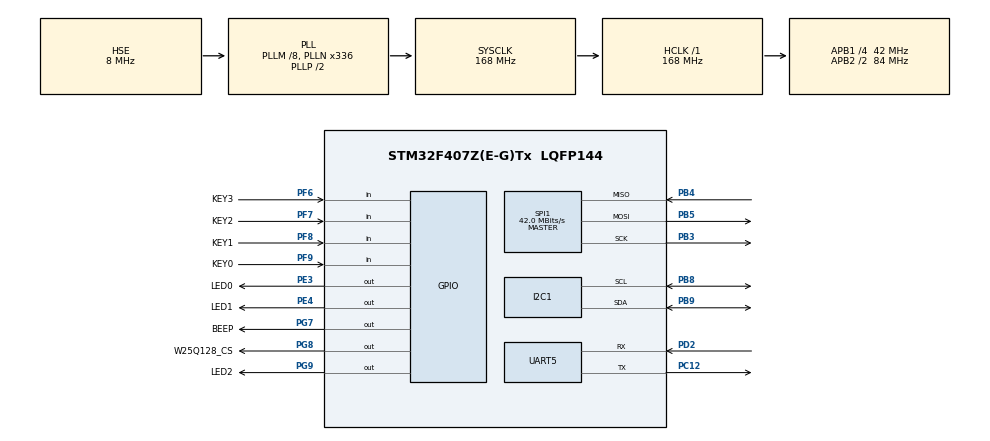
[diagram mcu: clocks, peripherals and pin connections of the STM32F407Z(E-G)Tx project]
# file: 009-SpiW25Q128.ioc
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Mcu.Family=STM32F4
Mcu.Name=STM32F407Z(E-G)Tx
Mcu.Package=LQFP144
NVIC.PriorityGroup=NVIC_PRIORITYGROUP_4
NVIC.TIM3_IRQn=true\:0\:0\:false\:false\:true\:true\:true\:true
PA13.Mode=Serial_Wire
PA13.Signal=SYS_JTMS-SWDIO
PA14.Mode=Serial_Wire
PA14.Signal=SYS_JTCK-SWCLK
PB3.Mode=Full_Duplex_Master
PB3.Signal=SPI1_SCK
PB4.Mode=Full_Duplex_Master
PB4.Signal=SPI1_MISO
PB5.Mode=Full_Duplex_Master
PB5.Signal=SPI1_MOSI
PB8.Mode=I2C
PB8.Signal=I2C1_SCL
PB9.Mode=I2C
PB9.Signal=I2C1_SDA
PC12.Mode=Asynchronous
PC12.Signal=UART5_TX
PC14-OSC32_IN.Mode=LSE-External-Oscillator
PC14-OSC32_IN.Signal=RCC_OSC32_IN
PC15-OSC32_OUT.Mode=LSE-External-Oscillator
PC15-OSC32_OUT.Signal=RCC_OSC32_OUT
PD2.Mode=Asynchronous
PD2.Signal=UART5_RX
PE3.GPIO_Label=LED0
PE3.PinState=GPIO_PIN_SET
PE3.Signal=GPIO_Output
PE4.GPIO_Label=LED1
PE4.PinState=GPIO_PIN_SET
PE4.Signal=GPIO_Output
PF6.GPIO_Label=KEY3
PF6.GPIO_PuPd=GPIO_PULLUP
PF6.Signal=GPIO_Input
PF7.GPIO_Label=KEY2
PF7.GPIO_PuPd=GPIO_PULLUP
PF7.Signal=GPIO_Input
PF8.GPIO_Label=KEY1
PF8.GPIO_PuPd=GPIO_PULLUP
PF8.Signal=GPIO_Input
PF9.GPIO_Label=KEY0
PF9.GPIO_PuPd=GPIO_PULLUP
PF9.Signal=GPIO_Input
PG7.GPIO_Label=BEEP
PG7.Signal=GPIO_Output
PG8.GPIO_Label=W25Q128_CS
PG8.GPIO_Speed=GPIO_SPEED_FREQ_HIGH
PG8.PinState=GPIO_PIN_SET
PG8.Signal=GPIO_Output
PG9.GPIO_Label=LED2
PG9.PinState=GPIO_PIN_SET
PG9.Signal=GPIO_Output
PH0-OSC_IN.Mode=HSE-External-Oscillator
PH0-OSC_IN.Signal=RCC_OSC_IN
PH1-OSC_OUT.Mode=HSE-External-Oscillator
PH1-OSC_OUT.Signal=RCC_OSC_OUT
ProjectManager.HeapSize=0x200
ProjectManager.StackSize=0x400
ProjectManager.TargetToolchain=CMake
RCC.48MHZClocksFreq_Value=84000000
RCC.AHBFreq_Value=168000000
RCC.APB1CLKDivider=RCC_HCLK_DIV4
RCC.APB1Freq_Value=42000000
RCC.APB1TimFreq_Value=84000000
RCC.APB2CLKDivider=RCC_HCLK_DIV2
RCC.APB2Freq_Value=84000000
RCC.APB2TimFreq_Value=168000000
RCC.CortexFreq_Value=168000000
RCC.HCLKFreq_Value=168000000
RCC.HSE_VALUE=8000000
RCC.HSI_VALUE=16000000
RCC.PLLM=8
RCC.PLLN=336
RCC.PLLSourceVirtual=RCC_PLLSOURCE_HSE
RCC.SYSCLKFreq_VALUE=168000000
RCC.SYSCLKSource=RCC_SYSCLKSOURCE_PLLCLK
RCC.VCOOutputFreq_Value=336000000
SPI1.CalculateBaudRate=42.0 MBits/s
SPI1.Direction=SPI_DIRECTION_2LINES
SPI1.Mode=SPI_MODE_MASTER
SPI1.VirtualType=VM_MASTER
TIM3.Period=999
TIM3.Prescaler=1679
UART5.VirtualMode=Asynchronous
VP_TIM3_VS_ClockSourceINT.Mode=Internal
board=custom

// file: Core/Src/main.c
/* USER CODE BEGIN Header */
/**
  ******************************************************************************
  * @file           : main.c
  * @brief          : Main program body
  ******************************************************************************
  * @attention
  *
  * Copyright (c) 2026 STMicroelectronics.
  * All rights reserved.
  *
  * This software is licensed under terms that can be found in the LICENSE file
  * in the root directory of this software component.
  * If no LICENSE file comes with this software, it is provided AS-IS.
  *
  ******************************************************************************
  */
/* USER CODE END Header */
#include "main.h"
#include "i2c.h"
#include "spi.h"
#include "tim.h"
#include "usart.h"
#include "gpio.h"

/* USER CODE BEGIN Includes */
#include <stdio.h>
#include <string.h>
#include "w25q128.h"
/* USER CODE END Includes */

void SystemClock_Config(void);

/* USER CODE BEGIN 0 */
int __io_putchar(int ch)
{
  HAL_UART_Transmit(&huart5, (uint8_t *)&ch, 1, HAL_MAX_DELAY);
  return ch;
}

/* USER CODE END 0 */

int main(void)
{

  /* MCU Configuration--------------------------------------------------------*/

  /* Reset of all peripherals, Initializes the Flash interface and the Systick. */
  HAL_Init();

  /* Configure the system clock */
  SystemClock_Config();

  /* Initialize all configured peripherals */
  MX_GPIO_Init();
  MX_TIM3_Init();
  MX_UART5_Init();
  MX_I2C1_Init();
  MX_SPI1_Init();
  /* USER CODE BEGIN 2 */
  uint32_t flash_id = 0;
  if (W25Q128_ReadID(&flash_id) == W25Q128_OK && flash_id == W25Q128_JEDEC_ID)
  {
    printf("[TEST0 readID] pass: JEDEC ID = 0x%06lX\r\n", (unsigned long)flash_id);
  }
  else
  {
    printf("[TEST0 readID] failed: JEDEC ID = 0x%06lX\r\n", (unsigned long)flash_id);
  }

  /* ---- W25Q128 API verification ---- */
  static uint8_t tx_buf[4096];
  static uint8_t rx_buf[4096];
  int pass_cnt = 0;
  int fail_cnt = 0;

  /* Test 0: erase sectors 0 and 1 (0x0000~0x1FFF) as test range */
  if (W25Q128_EraseSector(0) == W25Q128_OK &&
      W25Q128_EraseSector(4096) == W25Q128_OK)
  {
    printf("[ERASE] ok\r\n");
    pass_cnt++;
  }
  else
  {
    printf("[ERASE] failed\r\n");
    fail_cnt++;
  }

  /* Test 1: write 32 bytes at 0x10, verify */
  for (int i = 0; i < 32; i++)
  {
    tx_buf[i] = (uint8_t)(0xA0 + i);
  }
  if (W25Q128_Write(0x10, tx_buf, 32) == W25Q128_OK &&
      W25Q128_Read(0x10, rx_buf, 32) == W25Q128_OK &&
      memcmp(tx_buf, rx_buf, 32) == 0)
  {
    printf("[TEST1 32B@0x10] pass\r\n");
    pass_cnt++;
  }
  else
  {
    printf("[TEST1 32B@0x10] failed\r\n");
    fail_cnt++;
  }

  /* Test 2: write 3 pages (768B, unaligned start crossing page boundary) at 0x80 */
  for (int i = 0; i < 768; i++)
  {
    tx_buf[i] = (uint8_t)(i & 0xFF);
  }
  if (W25Q128_Write(0x80, tx_buf, 768) == W25Q128_OK &&
      W25Q128_Read(0x80, rx_buf, 768) == W25Q128_OK &&
      memcmp(tx_buf, rx_buf, 768) == 0)
  {
    printf("[TEST2 3pages@0x80] pass\r\n");
    pass_cnt++;
  }
  else
  {
    printf("[TEST2 3pages@0x80] failed\r\n");
    fail_cnt++;
  }

  /* Test 3: write 1 full sector (4096B) at 0x800, spanning sectors 0/1 */
  for (uint32_t i = 0; i < 4096; i++)
  {
    tx_buf[i] = (uint8_t)(i * 7);
  }
  if (W25Q128_Write(0x800, tx_buf, 4096) == W25Q128_OK &&
      W25Q128_Read(0x800, rx_buf, 4096) == W25Q128_OK &&
      memcmp(tx_buf, rx_buf, 4096) == 0)
  {
    printf("[TEST3 1sector@0x800] pass\r\n");
    pass_cnt++;
  }
  else
  {
    printf("[TEST3 1sector@0x800] failed\r\n");
    fail_cnt++;
  }

  /* Test 4: erase sector 1 (0x1000) and verify all 0xFF */
  uint8_t ff_ok = 1;
  if (W25Q128_EraseSector(0x1000) == W25Q128_OK &&
      W25Q128_Read(0x1000, rx_buf, 4096) == W25Q128_OK)
  {
    for (uint32_t i = 0; i < 4096; i++)
    {
      if (rx_buf[i] != 0xFF)
      {
        ff_ok = 0;
        break;
      }
    }
  }
  else
  {
    ff_ok = 0;
  }
  if (ff_ok)
  {
    printf("[TEST4 erase&checkFF@0x1000] pass\r\n");
    pass_cnt++;
  }
  else
  {
    printf("[TEST4 erase&checkFF@0x1000] failed\r\n");
    fail_cnt++;
  }

  /* Test 5: write across sector boundary 0xFFE~0x1002 (spans sectors 0 and 1)
   * NOTE: sector 0 was programmed by TEST1~3, re-erase it first because
   * flash programming can only clear bits (1 -> 0), never set them. */
  uint8_t cross_tx[8] = {0xDE, 0xAD, 0xBE, 0xEF, 0x12, 0x34, 0x56, 0x78};
  if (W25Q128_EraseSector(0) == W25Q128_OK &&
      W25Q128_Write(0x0FFE, cross_tx, 8) == W25Q128_OK &&
      W25Q128_Read(0x0FFE, rx_buf, 8) == W25Q128_OK &&
      memcmp(cross_tx, rx_buf, 8) == 0)
  {
    printf("[TEST5 cross-sector@0xFFE] pass\r\n");
    pass_cnt++;
  }
  else
  {
    printf("[TEST5 cross-sector@0xFFE] failed\r\n");
    fail_cnt++;
  }

  /* Test 6: WriteEnable -> WEL=1, WriteDisable -> WEL=0 */
  uint8_t sr1 = 0;
  uint8_t wel_ok = 0;
  if (W25Q128_WriteEnable() == W25Q128_OK &&
      W25Q128_ReadStatus(&sr1) == W25Q128_OK &&
      (sr1 & W25Q128_SR1_WEL) != 0U)
  {
    if (W25Q128_WriteDisable() == W25Q128_OK &&
        W25Q128_ReadStatus(&sr1) == W25Q128_OK &&
        (sr1 & W25Q128_SR1_WEL) == 0U)
    {
      wel_ok = 1;
    }
  }
  if (wel_ok)
  {
    printf("[TEST6 writedisable] pass\r\n");
    pass_cnt++;
  }
  else
  {
    printf("[TEST6 writedisable] failed\r\n");
    fail_cnt++;
  }

  /* Test 7: read status register 2 */
  uint8_t sr2 = 0xFF;
  if (W25Q128_ReadStatus2(&sr2) == W25Q128_OK)
  {
    printf("[TEST7 status2] pass: SR2 = 0x%02X\r\n", sr2);
    pass_cnt++;
  }
  else
  {
    printf("[TEST7 status2] failed\r\n");
    fail_cnt++;
  }

  /* Test 8: read unique ID twice, both reads equal and not all 0xFF */
  uint8_t uid1[8] = {0}, uid2[8] = {0};
  uint8_t uid_ok = 0;
  if (W25Q128_ReadUniqueID(uid1) == W25Q128_OK &&
      W25Q128_ReadUniqueID(uid2) == W25Q128_OK &&
      memcmp(uid1, uid2, 8) == 0)
  {
    uid_ok = 1;
    for (int i = 0; i < 8; i++)
    {
      if (uid1[i] != 0xFF)
      {
        break;
      }
      if (i == 7)
      {
        uid_ok = 0;
      }
    }
  }
  if (uid_ok)
  {
    printf("[TEST8 uniqueid] pass: %02X%02X%02X%02X%02X%02X%02X%02X\r\n",
           uid1[0], uid1[1], uid1[2], uid1[3],
           uid1[4], uid1[5], uid1[6], uid1[7]);
    pass_cnt++;
  }
  else
  {
    printf("[TEST8 uniqueid] failed\r\n");
    fail_cnt++;
  }

  /* Test 9: power down, release, then JEDEC ID readable again */
  uint32_t id_after = 0;
  uint8_t pd_ok = 0;
  if (W25Q128_PowerDown() == W25Q128_OK &&
      W25Q128_ReleasePowerDown() == W25Q128_OK &&
      W25Q128_ReadID(&id_after) == W25Q128_OK &&
      id_after == W25Q128_JEDEC_ID)
  {
    pd_ok = 1;
  }
  if (pd_ok)
  {
    printf("[TEST9 powerdown] pass\r\n");
    pass_cnt++;
  }
  else
  {
    printf("[TEST9 powerdown] failed\r\n");
    fail_cnt++;
  }

  /* Test 10: 64KB block lock protection
   * erase sector at 0x10000, lock its 64KB block, write attempt must be
   * ignored (read back 0xFF), unlock then write must succeed. */
  /* Test 10: BP-based global write protection (works on all W25Q/GD25)
   * BP0~BP2 = 1 (SR1 = 0x1C) protects the whole array from programming.
   * Note: erase is also blocked while BP bits are set. */
  uint8_t lock_ok = 0;
  do
  {
    if (W25Q128_EraseSector(0x10000) != W25Q128_OK)
    {
      printf("  step1 erase failed\r\n");
      break;
    }
    /* enable protection */
    if (W25Q128_WriteStatusReg(0x1C) != W25Q128_OK)
    {
      printf("  step2 set BP failed\r\n");
      break;
    }
    W25Q128_ReadStatus(&sr1);
    printf("  SR1 = 0x%02X\r\n", sr1);
    for (int i = 0; i < 32; i++)
    {
      tx_buf[i] = (uint8_t)(0x5A + i);
    }
    if (W25Q128_Write(0x10100, tx_buf, 32) != W25Q128_OK)
    {
      printf("  step3 write cmd failed\r\n");
      break;
    }
    if (W25Q128_Read(0x10100, rx_buf, 32) != W25Q128_OK)
    {
      printf("  step4 read failed\r\n");
      break;
    }
    uint8_t all_ff = 1;
    for (int i = 0; i < 32; i++)
    {
      if (rx_buf[i] != 0xFF)
      {
        all_ff = 0;
        break;
      }
    }
    if (!all_ff)
    {
      printf("  step5 data written despite BP (rx[0]=0x%02X)\r\n", rx_buf[0]);
      break;
    }
    /* clear protection and write again, must succeed */
    if (W25Q128_WriteStatusReg(0x00) != W25Q128_OK ||
        W25Q128_Write(0x10100, tx_buf, 32) != W25Q128_OK ||
        W25Q128_Read(0x10100, rx_buf, 32) != W25Q128_OK ||
        memcmp(tx_buf, rx_buf, 32) != 0)
    {
      printf("  step6 unprotect-write failed\r\n");
      break;
    }
    lock_ok = 1;
  } while (0);
  if (lock_ok)
  {
    printf("[TEST10 blocklock] pass\r\n");
    pass_cnt++;
  }
  else
  {
    printf("[TEST10 blocklock] failed\r\n");
    fail_cnt++;
  }

  printf("==== result: %d pass, %d fail ====\r\n", pass_cnt, fail_cnt);
  /* USER CODE END 2 */

  /* Infinite loop */
  while (1)
  {

  }
}

void SystemClock_Config(void)
{
  RCC_OscInitTypeDef RCC_OscInitStruct = {0};
  RCC_ClkInitTypeDef RCC_ClkInitStruct = {0};

  /** Configure the main internal regulator output voltage
  */
  __HAL_RCC_PWR_CLK_ENABLE();
  __HAL_PWR_VOLTAGESCALING_CONFIG(PWR_REGULATOR_VOLTAGE_SCALE1);

  /** Initializes the RCC Oscillators according to the specified parameters
  * in the RCC_OscInitTypeDef structure.
  */
  RCC_OscInitStruct.OscillatorType = RCC_OSCILLATORTYPE_HSE;
  RCC_OscInitStruct.HSEState = RCC_HSE_ON;
  RCC_OscInitStruct.PLL.PLLState = RCC_PLL_ON;
  RCC_OscInitStruct.PLL.PLLSource = RCC_PLLSOURCE_HSE;
  RCC_OscInitStruct.PLL.PLLM = 8;
  RCC_OscInitStruct.PLL.PLLN = 336;
  RCC_OscInitStruct.PLL.PLLP = RCC_PLLP_DIV2;
  RCC_OscInitStruct.PLL.PLLQ = 4;
  if (HAL_RCC_OscConfig(&RCC_OscInitStruct) != HAL_OK)
  {
    Error_Handler();
  }

  /** Initializes the CPU, AHB and APB buses clocks
  */
  RCC_ClkInitStruct.ClockType = RCC_CLOCKTYPE_HCLK|RCC_CLOCKTYPE_SYSCLK
                              |RCC_CLOCKTYPE_PCLK1|RCC_CLOCKTYPE_PCLK2;
  RCC_ClkInitStruct.SYSCLKSource = RCC_SYSCLKSOURCE_PLLCLK;
  RCC_ClkInitStruct.AHBCLKDivider = RCC_SYSCLK_DIV1;
  RCC_ClkInitStruct.APB1CLKDivider = RCC_HCLK_DIV4;
  RCC_ClkInitStruct.APB2CLKDivider = RCC_HCLK_DIV2;

  if (HAL_RCC_ClockConfig(&RCC_ClkInitStruct, FLASH_LATENCY_5) != HAL_OK)
  {
    Error_Handler();
  }
}

void Error_Handler(void)
{
  __disable_irq();
  while (1)
  {
  }
}
